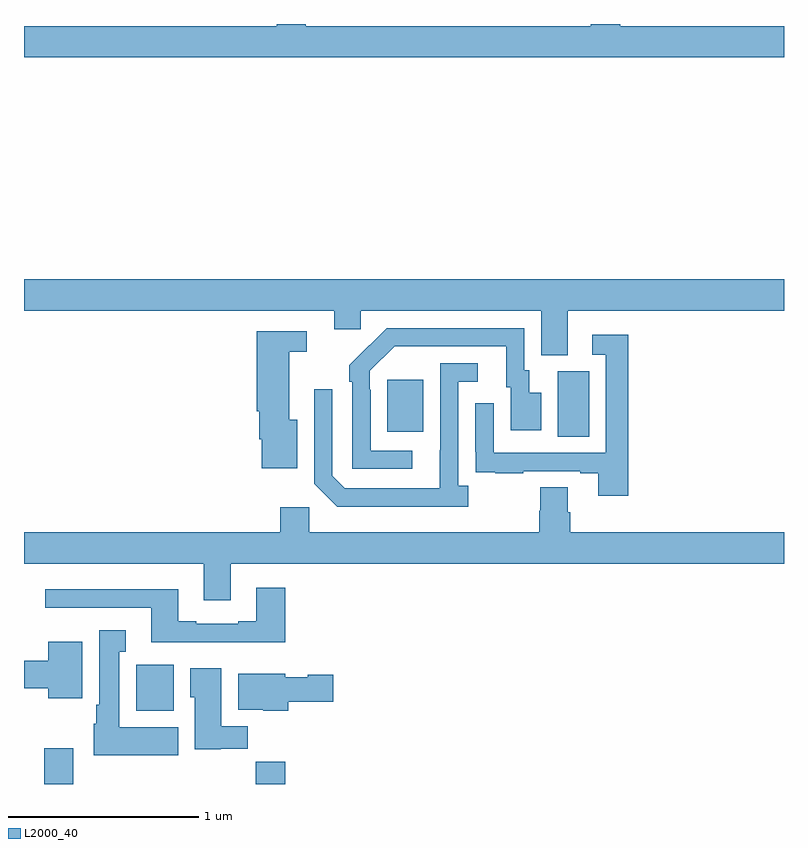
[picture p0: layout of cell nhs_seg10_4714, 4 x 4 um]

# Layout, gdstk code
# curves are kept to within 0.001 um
import gdstk
lib = gdstk.Library(unit=1e-6, precision=1e-09)
def R(c, l, rs):  # rectangles x0, y0, x1, y1
    for r in rs: c.add(gdstk.rectangle(r[:2], r[2:], *l))
def P(c, l, *ps):  # polygons
    for p in ps: c.add(gdstk.Polygon(p, *l))
L2000_40 = (2000, 40)

nhs_seg10_4714 = lib.new_cell('nhs_seg10_4714')
R(nhs_seg10_4714, L2000_40, [(381.107,1288.5,381.259,1288.687), (382.219,1288.5,382.376,1288.616), (381.59,1288.886,381.787,1289.128), (383.81,1290.328,383.974,1290.672), (382.913,1290.353,383.101,1290.628)])
P(nhs_seg10_4714, L2000_40, [(385,1292.488),(384.137,1292.488),(384.137,1292.5),(383.984,1292.5),(383.984,1292.488),(382.482,1292.488),(382.482,1292.5),(382.331,1292.5),(382.331,1292.488),(381,1292.488),(381,1292.324),(385,1292.324)],
  [(383.863,1290.992),(385,1290.992),(385,1291.156),(381,1291.156),(381,1290.992),(382.634,1290.992),(382.634,1290.894),(382.773,1290.894),(382.773,1290.992),(383.723,1290.992),(383.723,1290.757),(383.863,1290.757)],
  [(383.044,1290.255),(382.824,1290.255),(382.824,1290.575),(382.821,1290.575),(382.821,1290.675),(382.95,1290.804),(383.537,1290.804),(383.537,1290.588),(383.561,1290.588),(383.561,1290.363),(383.722,1290.363),(383.722,1290.559),(383.659,1290.559),(383.659,1290.678),(383.634,1290.678),(383.634,1290.9),(382.91,1290.9),(382.713,1290.705),(382.713,1290.617),(382.728,1290.617),(382.728,1290.159),(383.044,1290.159)],
  [(382.438,1290.418),(382.396,1290.418),(382.396,1290.774),(382.489,1290.774),(382.489,1290.882),(382.226,1290.882),(382.226,1290.462),(382.238,1290.462),(382.238,1290.314),(382.25,1290.314),(382.25,1290.161),(382.438,1290.161)],
  [(384.179,1290.865),(383.991,1290.865),(383.991,1290.759),(384.063,1290.759),(384.063,1290.243),(383.472,1290.243),(383.472,1290.505),(383.376,1290.505),(383.376,1290.25),(383.377,1290.25),(383.377,1290.141),(383.479,1290.141),(383.479,1290.135),(383.627,1290.135),(383.627,1290.147),(383.927,1290.147),(383.927,1290.135),(384.023,1290.135),(384.023,1290.018),(384.179,1290.018)],
  [(383.338,1290.07),(383.286,1290.07),(383.286,1290.618),(383.389,1290.618),(383.389,1290.714),(383.19,1290.714),(383.189,1290.057),(382.689,1290.057),(382.623,1290.123),(382.623,1290.577),(382.527,1290.577),(382.527,1290.081),(382.648,1289.96),(383.338,1289.96)],
  [(382.087,1289.66),(385,1289.66),(385,1289.824),(383.876,1289.824),(383.876,1289.93),(383.863,1289.93),(383.863,1290.062),(383.716,1290.062),(383.716,1289.937),(383.711,1289.937),(383.711,1289.824),(382.5,1289.824),(382.5,1289.956),(382.349,1289.956),(382.349,1289.824),(381,1289.824),(381,1289.66),(381.947,1289.66),(381.947,1289.466),(382.087,1289.466)],
  [(382.376,1289.533),(382.223,1289.533),(382.223,1289.356),(382.127,1289.356),(382.127,1289.343),(381.907,1289.343),(381.907,1289.356),(381.811,1289.356),(381.811,1289.524),(381.111,1289.524),(381.111,1289.427),(381.671,1289.427),(381.671,1289.246),(382.376,1289.246)],
  [(381.811,1288.798),(381.502,1288.798),(381.502,1289.195),(381.535,1289.195),(381.535,1289.308),(381.395,1289.308),(381.395,1288.918),(381.38,1288.918),(381.38,1288.818),(381.368,1288.818),(381.368,1288.652),(381.811,1288.652)],
  [(381.307,1289.248),(381.128,1289.248),(381.128,1289.15),(381,1289.15),(381,1289.003),(381.128,1289.003),(381.128,1288.952),(381.307,1288.952)],
  [(382.035,1288.686),(382.178,1288.686),(382.178,1288.804),(382.039,1288.804),(382.039,1289.11),(381.875,1289.11),(381.875,1288.956),(381.899,1288.956),(381.899,1288.682),(382.035,1288.682)],
  [(382.391,1288.933),(382.627,1288.933),(382.627,1289.075),(382.494,1289.075),(382.494,1289.062),(382.374,1289.062),(382.374,1289.08),(382.127,1289.08),(382.127,1288.892),(382.26,1288.892),(382.26,1288.886),(382.391,1288.886)])

lib.write_gds('nhs_seg10_4714.gds')
